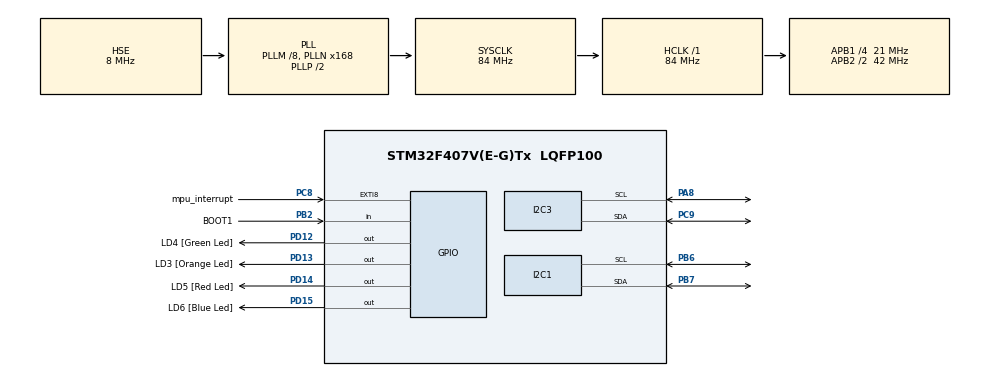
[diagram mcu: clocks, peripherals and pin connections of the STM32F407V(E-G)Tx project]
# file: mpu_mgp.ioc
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I2C1.I2C_Mode=I2C_Fast
I2C3.I2C_Mode=I2C_Fast
Mcu.Family=STM32F4
Mcu.Name=STM32F407V(E-G)Tx
Mcu.Package=LQFP100
NVIC.EXTI9_5_IRQn=true\:0\:0\:false\:false\:true\:true\:true\:true
NVIC.PriorityGroup=NVIC_PRIORITYGROUP_0
PA13.Mode=Serial_Wire
PA13.Signal=SYS_JTMS-SWDIO
PA14.GPIO_Label=SWCLK
PA14.Mode=Serial_Wire
PA14.Signal=SYS_JTCK-SWCLK
PA8.GPIO_Pu=GPIO_PULLUP
PA8.Mode=I2C
PA8.Signal=I2C3_SCL
PB2.GPIO_Label=BOOT1
PB2.GPIO_Mode=GPIO_MODE_INPUT
PB2.GPIO_PuPd=GPIO_NOPULL
PB2.Signal=GPIO_Input
PB6.GPIO_Pu=GPIO_NOPULL
PB6.Mode=I2C
PB6.Signal=I2C1_SCL
PB7.GPIO_Pu=GPIO_NOPULL
PB7.Mode=I2C
PB7.Signal=I2C1_SDA
PC8.GPIO_Label=mpu_interrupt
PC8.GPIO_ModeDefaultEXTI=GPIO_MODE_IT_RISING
PC8.GPIO_PuPd=GPIO_PULLDOWN
PC8.Signal=GPXTI8
PC9.GPIO_Pu=GPIO_PULLUP
PC9.Mode=I2C
PC9.Signal=I2C3_SDA
PD12.GPIO_Label=LD4 [Green Led]
PD12.GPIO_PuPd=GPIO_NOPULL
PD12.GPIO_Speed=GPIO_SPEED_FREQ_LOW
PD12.PinState=GPIO_PIN_RESET
PD12.Signal=GPIO_Output
PD13.GPIO_Label=LD3 [Orange Led]
PD13.GPIO_PuPd=GPIO_NOPULL
PD13.GPIO_Speed=GPIO_SPEED_FREQ_LOW
PD13.Signal=GPIO_Output
PD14.GPIO_Label=LD5 [Red Led]
PD14.GPIO_PuPd=GPIO_NOPULL
PD14.GPIO_Speed=GPIO_SPEED_FREQ_LOW
PD14.Signal=GPIO_Output
PD15.GPIO_Label=LD6 [Blue Led]
PD15.GPIO_PuPd=GPIO_NOPULL
PD15.GPIO_Speed=GPIO_SPEED_FREQ_LOW
PD15.Signal=GPIO_Output
PH0-OSC_IN.GPIO_Label=PH0-OSC_IN
PH0-OSC_IN.Mode=HSE-External-Oscillator
PH0-OSC_IN.Signal=RCC_OSC_IN
PH1-OSC_OUT.GPIO_Label=PH1-OSC_OUT
PH1-OSC_OUT.Mode=HSE-External-Oscillator
PH1-OSC_OUT.Signal=RCC_OSC_OUT
ProjectManager.HeapSize=0x200
ProjectManager.StackSize=0x400
ProjectManager.TargetToolchain=STM32CubeIDE
RCC.48MHZClocksFreq_Value=24000000
RCC.AHBFreq_Value=84000000
RCC.APB1CLKDivider=RCC_HCLK_DIV4
RCC.APB1Freq_Value=21000000
RCC.APB1TimFreq_Value=42000000
RCC.APB2CLKDivider=RCC_HCLK_DIV2
RCC.APB2Freq_Value=42000000
RCC.APB2TimFreq_Value=84000000
RCC.CortexFreq_Value=84000000
RCC.HCLKFreq_Value=84000000
RCC.HSE_VALUE=8000000
RCC.HSI_VALUE=16000000
RCC.LSE_VALUE=32768
RCC.PLLM=8
RCC.PLLN=168
RCC.PLLQ=7
RCC.PLLSourceVirtual=RCC_PLLSOURCE_HSE
RCC.SYSCLKFreq_VALUE=84000000
RCC.SYSCLKSource=RCC_SYSCLKSOURCE_PLLCLK
RCC.VCOOutputFreq_Value=168000000
board=STM32F407G-DISC1

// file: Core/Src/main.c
/* USER CODE BEGIN Header */
/**
  ******************************************************************************
  * @file           : main.c
  * @brief          : Main program body
  ******************************************************************************
  * @attention
  *
  * Copyright (c) 2023 STMicroelectronics.
  * All rights reserved.
  *
  * This software is licensed under terms that can be found in the LICENSE file
  * in the root directory of this software component.
  * If no LICENSE file comes with this software, it is provided AS-IS.
  *
  ******************************************************************************
  */
/* USER CODE END Header */
#include "main.h"

/* USER CODE BEGIN Includes */
#include "math.h"
#include "mpu6050.h"
//#include "mpu_alt.h"
/* USER CODE END Includes */

/* USER CODE BEGIN PD */
#define G_MPS2				9.8100000000f
#define RAD_TO_DEG			57.2957795131f

#define COMP_FILTER_GAIN	0.95f

#define SAMPLE_TIME_MS_USB	10

#define PI					3.141592f
#define pi					3.141592f
/* USER CODE END PD */

I2C_HandleTypeDef hi2c1;
I2C_HandleTypeDef hi2c3;

void SystemClock_Config(void);
static void MX_GPIO_Init(void);
static void MX_I2C1_Init(void);
static void MX_I2C3_Init(void);
/* USER CODE BEGIN PFP */
float LPF(float uk,float fCutoff,float tSample_time);
float HPF(float uk,float fCutoff,float tSample_time);
/* USER CODE END PFP */

/* USER CODE BEGIN 0 */
float fPhi_Hat_rad = 0.0f;
float fTheta_Hat_rad = 0.0f;
float fData_to_Be_Proccessed_Phi = 0.0f;
float fData_to_Be_Proccessed_Theta = 0.0f;
SensorData raw;
SensorData offsetRaw;
SensorData processedVal;
float dt = SAMPLE_TIME_MS_USB;
float fPhi_hat_acc_rad;
float fTheta_hat_acc_rad;
float fPhi_hat_rad;
float fTheta_hat_rad;
/* USER CODE END 0 */

int main(void)
{

  /* MCU Configuration--------------------------------------------------------*/

  /* Reset of all peripherals, Initializes the Flash interface and the Systick. */
  HAL_Init();

  /* Configure the system clock */
  SystemClock_Config();

  /* Initialize all configured peripherals */
  MX_GPIO_Init();
  MX_I2C1_Init();
  MX_I2C3_Init();
  /* USER CODE BEGIN 2 */
  HAL_Delay(10);

  HAL_StatusTypeDef mpuState=1;

  while(mpuState != HAL_OK)
  {
	  mpuState = mpuInit(hi2c3);
	  HAL_Delay(100);
  }

  mpuCalibrate(hi2c3);
  /* USER CODE END 2 */

  /* Infinite loop */
  /* USER CODE BEGIN WHILE */
	while (1)
	{
		mpuRead(hi2c3);
		mpuProcessed();
		raw = sensorRaw;
		offsetRaw.aX = offset.aX;
		offsetRaw.aY = offset.aY;
		offsetRaw.aZ = offset.aZ;
		offsetRaw.gX = offset.gX;
		offsetRaw.gY = offset.gY;
		offsetRaw.gZ = offset.gZ;
		processedVal = sensorProcessed;
		__NOP();
		__NOP();

		// dataları çekeceğin registerları linkle
		float fGyroData_p = sensorProcessed.gX;
		float fGyroData_q = sensorProcessed.gY;

		float fAcceloData_x = sensorProcessed.aX;
		float fAcceloData_y = sensorProcessed.aY;
		float fAcceloData_z = sensorProcessed.aZ;

		// converting accelometer angles
		fPhi_hat_acc_rad = (atan2(fAcceloData_y,fAcceloData_z)+PI)*RAD_TO_DEG;
		fTheta_hat_acc_rad = (atan2(fAcceloData_x,fAcceloData_z)+PI)*RAD_TO_DEG;

		// complementary filter denklemleri
		// phi_hat(k+1) = (1-alpha)*(phi_hat(k)+dt*phi_dot(k))+alpha*(phi_hat_accelometer)
		fPhi_hat_rad = (1.0f-COMP_FILTER_GAIN)*(fPhi_hat_rad+(dt)*fGyroData_p)+
		COMP_FILTER_GAIN*fPhi_hat_acc_rad;

		// theta_hat(k+1) = (1-alpha)*(theta_hat(k)+dt*theta_dot(k))+alpha*(theta_hat_accelometer)
		fTheta_hat_rad = (1.0f-COMP_FILTER_GAIN)*(fTheta_hat_rad+(dt)*fGyroData_q)+
		COMP_FILTER_GAIN*fTheta_hat_acc_rad; // */

	// complimentary filter equations
//	fPhi_Hat_rad = (COMP_FILTER_GAIN*fPhi_hat_acc_rad)+
//	(1-COMP_FILTER_GAIN)*(fPhi_Hat_rad+fGyroData_p*SAMPLE_TIME_MS_USB);
//	fTheta_Hat_rad = (COMP_FILTER_GAIN*fTheta_hat_acc_rad)+(
//	1-COMP_FILTER_GAIN)*(fTheta_Hat_rad+fGyroData_q*SAMPLE_TIME_MS_USB);

//	fData_to_Be_Proccessed_Phi = (COMP_FILTER_GAIN*fGyroData_p+ fPhi_hat_acc_rad);

//	fPhi_Hat_rad = LPF(fData_to_Be_Proccessed_Phi,COMP_FILTER_GAIN,SAMPLE_TIME_MS_USB);

//	fData_to_Be_Proccessed_Theta = (COMP_FILTER_GAIN*fGyroData_q+ fTheta_hat_acc_rad);

//	fTheta_Hat_rad = LPF(fData_to_Be_Proccessed_Theta,COMP_FILTER_GAIN,SAMPLE_TIME_MS_USB);

	 HAL_Delay(10);

    /* USER CODE END WHILE */

  }
}

void SystemClock_Config(void)
{
  RCC_OscInitTypeDef RCC_OscInitStruct = {0};
  RCC_ClkInitTypeDef RCC_ClkInitStruct = {0};

  /** Configure the main internal regulator output voltage
  */
  __HAL_RCC_PWR_CLK_ENABLE();
  __HAL_PWR_VOLTAGESCALING_CONFIG(PWR_REGULATOR_VOLTAGE_SCALE1);

  /** Initializes the RCC Oscillators according to the specified parameters
  * in the RCC_OscInitTypeDef structure.
  */
  RCC_OscInitStruct.OscillatorType = RCC_OSCILLATORTYPE_HSE;
  RCC_OscInitStruct.HSEState = RCC_HSE_ON;
  RCC_OscInitStruct.PLL.PLLState = RCC_PLL_ON;
  RCC_OscInitStruct.PLL.PLLSource = RCC_PLLSOURCE_HSE;
  RCC_OscInitStruct.PLL.PLLM = 8;
  RCC_OscInitStruct.PLL.PLLN = 168;
  RCC_OscInitStruct.PLL.PLLP = RCC_PLLP_DIV2;
  RCC_OscInitStruct.PLL.PLLQ = 7;
  if (HAL_RCC_OscConfig(&RCC_OscInitStruct) != HAL_OK)
  {
    Error_Handler();
  }

  /** Initializes the CPU, AHB and APB buses clocks
  */
  RCC_ClkInitStruct.ClockType = RCC_CLOCKTYPE_HCLK|RCC_CLOCKTYPE_SYSCLK
                              |RCC_CLOCKTYPE_PCLK1|RCC_CLOCKTYPE_PCLK2;
  RCC_ClkInitStruct.SYSCLKSource = RCC_SYSCLKSOURCE_PLLCLK;
  RCC_ClkInitStruct.AHBCLKDivider = RCC_SYSCLK_DIV1;
  RCC_ClkInitStruct.APB1CLKDivider = RCC_HCLK_DIV4;
  RCC_ClkInitStruct.APB2CLKDivider = RCC_HCLK_DIV2;

  if (HAL_RCC_ClockConfig(&RCC_ClkInitStruct, FLASH_LATENCY_2) != HAL_OK)
  {
    Error_Handler();
  }
}

static void MX_I2C1_Init(void)
{

  /* USER CODE BEGIN I2C1_Init 0 */
	__HAL_RCC_I2C1_CLK_ENABLE();
	HAL_Delay(10);
  /* USER CODE END I2C1_Init 0 */

  hi2c1.Instance = I2C1;
  hi2c1.Init.ClockSpeed = 400000;
  hi2c1.Init.DutyCycle = I2C_DUTYCYCLE_2;
  hi2c1.Init.OwnAddress1 = 0;
  hi2c1.Init.AddressingMode = I2C_ADDRESSINGMODE_7BIT;
  hi2c1.Init.DualAddressMode = I2C_DUALADDRESS_DISABLE;
  hi2c1.Init.OwnAddress2 = 0;
  hi2c1.Init.GeneralCallMode = I2C_GENERALCALL_DISABLE;
  hi2c1.Init.NoStretchMode = I2C_NOSTRETCH_DISABLE;
  if (HAL_I2C_Init(&hi2c1) != HAL_OK)
  {
    Error_Handler();
  }

}

static void MX_I2C3_Init(void)
{

  /* USER CODE BEGIN I2C3_Init 0 */
	__HAL_RCC_I2C3_CLK_ENABLE();
	HAL_Delay(10);
  /* USER CODE END I2C3_Init 0 */

  hi2c3.Instance = I2C3;
  hi2c3.Init.ClockSpeed = 400000;
  hi2c3.Init.DutyCycle = I2C_DUTYCYCLE_2;
  hi2c3.Init.OwnAddress1 = 0;
  hi2c3.Init.AddressingMode = I2C_ADDRESSINGMODE_7BIT;
  hi2c3.Init.DualAddressMode = I2C_DUALADDRESS_DISABLE;
  hi2c3.Init.OwnAddress2 = 0;
  hi2c3.Init.GeneralCallMode = I2C_GENERALCALL_DISABLE;
  hi2c3.Init.NoStretchMode = I2C_NOSTRETCH_DISABLE;
  if (HAL_I2C_Init(&hi2c3) != HAL_OK)
  {
    Error_Handler();
  }

}

static void MX_GPIO_Init(void)
{
  GPIO_InitTypeDef GPIO_InitStruct = {0};

  /* GPIO Ports Clock Enable */
  __HAL_RCC_GPIOH_CLK_ENABLE();
  __HAL_RCC_GPIOB_CLK_ENABLE();
  __HAL_RCC_GPIOD_CLK_ENABLE();
  __HAL_RCC_GPIOC_CLK_ENABLE();
  __HAL_RCC_GPIOA_CLK_ENABLE();

  /*Configure GPIO pin Output Level */
  HAL_GPIO_WritePin(GPIOD, LD4_Pin|LD3_Pin|LD5_Pin|LD6_Pin, GPIO_PIN_RESET);

  /*Configure GPIO pin : BOOT1_Pin */
  GPIO_InitStruct.Pin = BOOT1_Pin;
  GPIO_InitStruct.Mode = GPIO_MODE_INPUT;
  GPIO_InitStruct.Pull = GPIO_NOPULL;
  HAL_GPIO_Init(BOOT1_GPIO_Port, &GPIO_InitStruct);

  /*Configure GPIO pins : LD4_Pin LD3_Pin LD5_Pin LD6_Pin */
  GPIO_InitStruct.Pin = LD4_Pin|LD3_Pin|LD5_Pin|LD6_Pin;
  GPIO_InitStruct.Mode = GPIO_MODE_OUTPUT_PP;
  GPIO_InitStruct.Pull = GPIO_NOPULL;
  GPIO_InitStruct.Speed = GPIO_SPEED_FREQ_LOW;
  HAL_GPIO_Init(GPIOD, &GPIO_InitStruct);

  /*Configure GPIO pin : mpu_interrupt_Pin */
  GPIO_InitStruct.Pin = mpu_interrupt_Pin;
  GPIO_InitStruct.Mode = GPIO_MODE_IT_RISING;
  GPIO_InitStruct.Pull = GPIO_PULLDOWN;
  HAL_GPIO_Init(mpu_interrupt_GPIO_Port, &GPIO_InitStruct);

  /* EXTI interrupt init*/
  HAL_NVIC_SetPriority(EXTI9_5_IRQn, 0, 0);
  HAL_NVIC_EnableIRQ(EXTI9_5_IRQn);

}

/* USER CODE BEGIN 4 */

float LPF(float uk,float fCutoff,float tSample_time)
{
	static volatile float yk = 0; // Previous value of the output
	static volatile float yk1 = 0; // Previous value of the output
	static volatile float uk_1 = 0; // Previous value of the input

	float tau;
	float a;
	float b;

	// G(s) = 1/(tau*s+1) // tau = 1/(2*pi/cutoff)

	tau = 1/(2*pi*fCutoff);

	a = exp(-tSample_time/tau);
	b = 1-a;

	yk1 = a*yk+b*uk_1;

	yk = yk1;
	uk_1 = uk;

	return yk1;

}

float HPF(float uk,float fCutoff,float tSample_time)
{
	static volatile float yk = 0; // Previous value of the output
	static volatile float yk1 = 0; // Previous value of the output
	static volatile float uk_1 = 0; // Previous value of the input

	float tau;
	float a;

	// G(s) = tau/(tau*s+1) // tau = 1/(2*pi/cutoff)

	tau = 1/(2*pi*fCutoff);

	a = exp(-tSample_time/tau);

	yk1 = a*yk+uk_1-uk;

	yk = yk1;
	uk_1 = uk;

	return yk1;

}

/* USER CODE END 4 */

void Error_Handler(void)
{
  __disable_irq();
  while (1)
  {
  }
}
